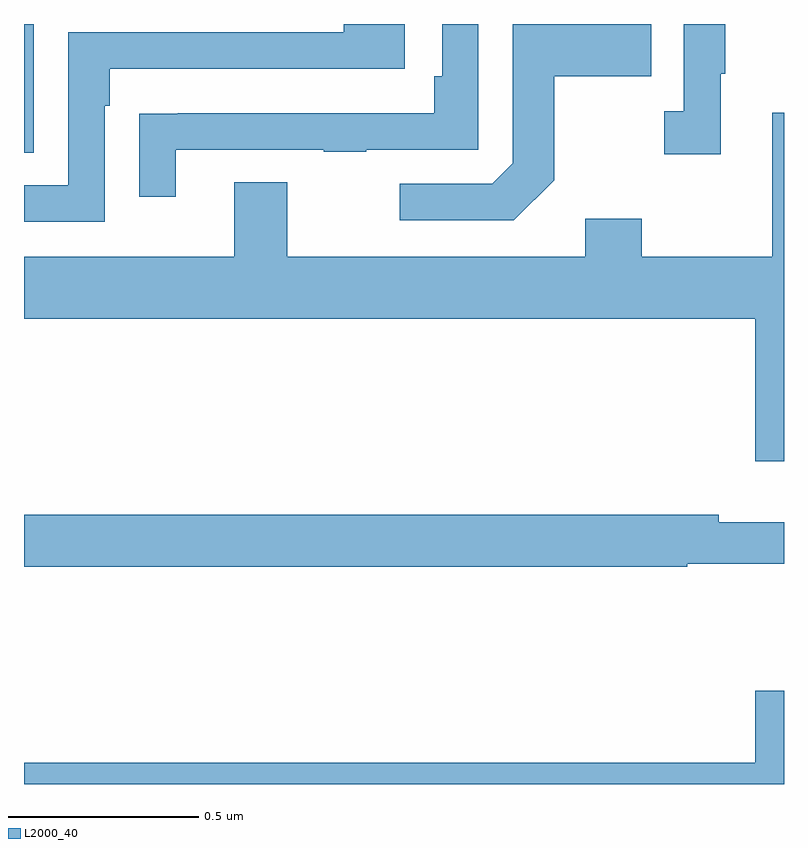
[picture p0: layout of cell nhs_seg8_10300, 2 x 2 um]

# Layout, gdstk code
import gdstk
lib = gdstk.Library(unit=1e-6, precision=1e-09)
def R(c, l, rs):  # rectangles x0, y0, x1, y1
    for r in rs: c.add(gdstk.rectangle(r[:2], r[2:], *l))
def P(c, l, *ps):  # polygons
    for p in ps: c.add(gdstk.Polygon(p, *l))
L2000_40 = (2000, 40)

nhs_seg8_10300 = lib.new_cell('nhs_seg8_10300')
R(nhs_seg8_10300, L2000_40, [(247,1159.561,247.026,1159.9)])
P(nhs_seg8_10300, L2000_40, [(247.399,1159.569),(247.789,1159.569),(247.789,1159.564),(247.901,1159.564),(247.901,1159.569),(248.196,1159.569),(248.196,1159.9),(248.1,1159.9),(248.1,1159.762),(248.08,1159.762),(248.08,1159.665),(247.405,1159.665),(247.405,1159.664),(247.303,1159.664),(247.303,1159.446),(247.399,1159.446)],
  [(248.395,1159.489),(248.395,1159.762),(248.651,1159.762),(248.651,1159.9),(248.286,1159.9),(248.286,1159.533),(248.232,1159.479),(247.989,1159.479),(247.989,1159.383),(248.289,1159.383)],
  [(248.833,1159.769),(248.845,1159.769),(248.845,1159.9),(248.736,1159.9),(248.736,1159.67),(248.685,1159.67),(248.685,1159.557),(248.833,1159.557)],
  [(247.212,1159.685),(247.225,1159.685),(247.225,1159.782),(248.002,1159.782),(248.002,1159.9),(247.841,1159.9),(247.841,1159.878),(247.116,1159.878),(247.116,1159.476),(247,1159.476),(247,1159.38),(247.212,1159.38)],
  [(249,1159.666),(248.969,1159.666),(248.969,1159.288),(248.625,1159.288),(248.625,1159.387),(248.477,1159.387),(248.477,1159.288),(247.693,1159.288),(247.693,1159.483),(247.553,1159.483),(247.553,1159.288),(247,1159.288),(247,1159.124),(248.924,1159.124),(248.924,1158.75),(249,1158.75)],
  [(248.745,1158.48),(249,1158.48),(249,1158.589),(248.828,1158.589),(248.828,1158.608),(247,1158.608),(247,1158.472),(248.745,1158.472)],
  [(249,1158.145),(248.924,1158.145),(248.924,1157.956),(247,1157.956),(247,1157.9),(249,1157.9)])

lib.write_gds('nhs_seg8_10300.gds')
